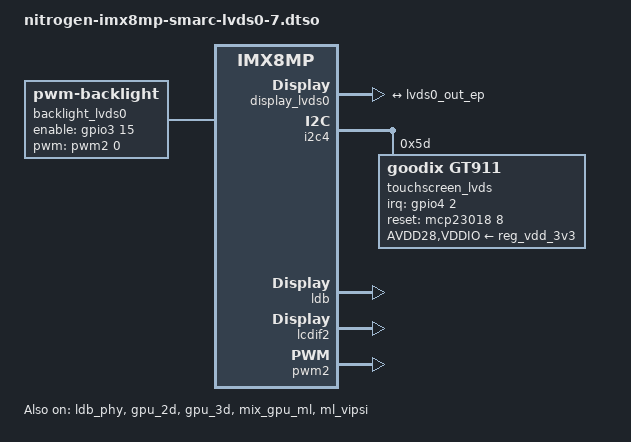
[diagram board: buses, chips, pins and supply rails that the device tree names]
// SPDX-License-Identifier: (GPL-2.0-or-later OR MIT)
/*
 * Copyright 2026 Ezurio
 */

/dts-v1/;
/plugin/;

#include <dt-bindings/gpio/gpio.h>
#include <dt-bindings/interrupt-controller/irq.h>

#include "imx8mp-pinfunc.h"

#include "nitrogen-imx8mp-bd-panel.dtsi"

&{/} {
	backlight_lvds0: backlight-lvds0 {
		brightness-levels = <0 1 2 3 4 5 6 7 8 9 10>;
		compatible = "pwm-backlight";
		default-brightness-level = <8>;

		pwms = <&pwm2 0 30000 0>;	/* 33.3 KHz */

		pinctrl-names = "default";
		pinctrl-0 = <&pinctrl_backlight_lvds0>;
		enable-gpios = <&gpio3 15 GPIO_ACTIVE_HIGH>;
	};

	display_lvds0: display-lvds0 {
		compatible = "panel-lvds";
		data-mapping = "vesa-24";

		backlight = <&backlight_lvds0>;

		width-mm = <150>;
		height-mm = <94>;

		panel-timing {
			BD_PANEL_TIMING
		};

		port {
			display_in_ep_lvds0: endpoint {
				remote-endpoint = <&lvds0_out_ep>;
			};
		};
	};
};

&i2c4 {
	#address-cells = <1>;
	#size-cells = <0>;

	status = "okay";

	touchscreen_lvds: touchscreen-lvds@5d {
		compatible = "goodix,gt911";
		reg = <0x5d>;

		AVDD28-supply = <&reg_vdd_3v3>;
		VDDIO-supply = <&reg_vdd_3v3>;

		pinctrl-names = "default";
		pinctrl-0 = <&pinctrl_touchscreen_lvds>;
		interrupts-extended = <&gpio4 2 IRQ_TYPE_EDGE_FALLING>;
		interrupt-names = "irq";
		irq-gpios = <&gpio4 2 GPIO_ACTIVE_HIGH>;
		reset-gpios = <&mcp23018 8 (GPIO_ACTIVE_HIGH | GPIO_PULL_UP)>;

		touchscreen-min-x = <0>;
		touchscreen-min-y = <0>;
		touchscreen-size-x = <1280>;
		touchscreen-size-y = <800>;
	};
};

&iomuxc {
	pinctrl_touchscreen_lvds: touchscreen-lvdsgrp {
		fsl,pins = <
			MX8MP_IOMUXC_SAI1_RXD0__GPIO4_IO02	0x1c0
		>;
	};

	pinctrl_backlight_lvds0: backlight-lvds0grp {
		fsl,pins = <
			MX8MP_IOMUXC_NAND_RE_B__GPIO3_IO15	0x100
		>;
	};
};

&ldb {
	status = "okay";

	#address-cells = <1>;
	#size-cells = <0>;

	lvds-channel@0 {
		status = "okay";

		#address-cells = <1>;
		#size-cells = <0>;

		port@1 {
			reg = <1>;

			lvds0_out_ep: endpoint {
				remote-endpoint = <&display_in_ep_lvds0>;
			};
		};
	};
};

&media_blk_ctrl {
	/* currently it is not possible to let display clocks confugure
	 * automatically, so we need to set them manually
	 */
	assigned-clock-rates = <500000000>, <200000000>, <0>,
		/* IMX8MP_CLK_MEDIA_DISP2_PIX = pixelclk of lvds panel */
		<72000000>,
		<500000000>,
		/* IMX8MP_VIDEO_PLL1 = IMX8MP_CLK_MEDIA_LDB * 7 */
		<506800000>;
};

&ldb_phy {
	status = "okay";
};

&{/display-subsystem} {
	status = "okay";
};

&lcdif2 {
	status = "okay";
};

&pwm2 {
	status = "okay";
};

&gpu_2d {
	status = "okay";
};

&gpu_3d {
	status = "okay";
};

&mix_gpu_ml {
	status = "okay";
};

&ml_vipsi {
	status = "okay";
};
